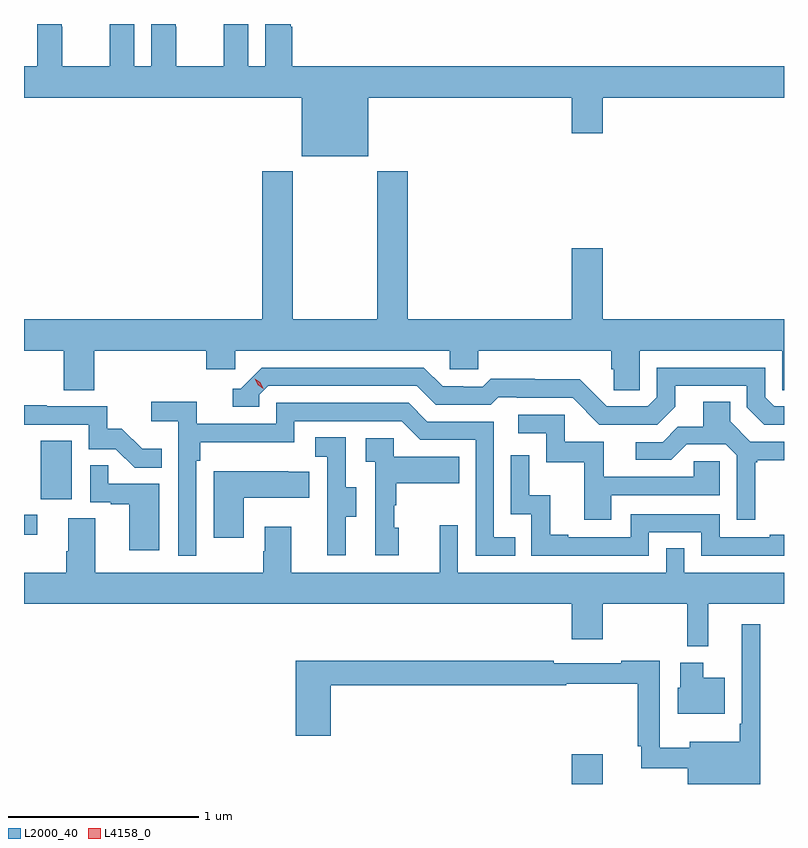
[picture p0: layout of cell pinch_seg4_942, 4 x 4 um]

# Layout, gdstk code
import gdstk
lib = gdstk.Library(unit=1e-6, precision=1e-09)
def R(c, l, rs):  # rectangles x0, y0, x1, y1
    for r in rs: c.add(gdstk.rectangle(r[:2], r[2:], *l))
def P(c, l, *ps):  # polygons
    for p in ps: c.add(gdstk.Polygon(p, *l))
L2000_40 = (2000, 40)
L4158_0 = (4158, 0)

pinch_seg4_942 = lib.new_cell('pinch_seg4_942')
R(pinch_seg4_942, L2000_40, [(860.312,767.899,860.476,768.055), (857.429,769.212,857.5,769.317), (857.516,769.398,857.68,769.705)])
P(pinch_seg4_942, L2000_40, [(859.24,771.512),(860.312,771.512),(860.312,771.324),(860.476,771.324),(860.476,771.512),(861.429,771.512),(861.429,771.676),(858.842,771.676),(858.842,771.884),(858.832,771.884),(858.832,771.899),(858.698,771.899),(858.698,771.676),(858.61,771.676),(858.61,771.899),(858.48,771.899),(858.48,771.884),(858.479,771.884),(858.479,771.676),(858.229,771.676),(858.229,771.884),(858.228,771.884),(858.228,771.899),(858.098,771.899),(858.098,771.676),(858.01,771.676),(858.01,771.899),(857.88,771.899),(857.88,771.884),(857.879,771.884),(857.879,771.676),(857.629,771.676),(857.629,771.884),(857.628,771.884),(857.628,771.899),(857.498,771.899),(857.498,771.676),(857.429,771.676),(857.429,771.512),(858.89,771.512),(858.89,771.203),(859.24,771.203)],
  [(857.798,770.18),(858.389,770.18),(858.389,770.082),(858.54,770.082),(858.54,770.18),(859.671,770.18),(859.671,770.082),(859.821,770.082),(859.821,770.18),(860.519,770.18),(860.519,770.082),(860.533,770.082),(860.533,769.972),(860.67,769.972),(860.67,770.18),(861.42,770.18),(861.42,769.972),(861.429,769.972),(861.429,770.344),(860.476,770.344),(860.476,770.719),(860.312,770.719),(860.312,770.344),(859.448,770.344),(859.448,771.124),(859.288,771.124),(859.288,770.344),(858.843,770.344),(858.843,771.124),(858.683,771.124),(858.683,770.344),(857.429,770.344),(857.429,770.18),(857.638,770.18),(857.638,769.972),(857.798,769.972)],
  [(860.857,769.885),(860.857,769.995),(861.234,769.995),(861.234,769.881),(861.324,769.791),(861.429,769.791),(861.429,769.887),(861.378,769.887),(861.33,769.935),(861.33,770.091),(860.76,770.091),(860.76,769.935),(860.712,769.887),(860.496,769.887),(860.354,770.029),(860.118,770.029),(860.118,770.032),(859.885,770.032),(859.843,769.989),(859.74,769.989),(859.74,769.992),(859.633,769.992),(859.534,770.091),(858.681,770.091),(858.57,769.98),(858.527,769.98),(858.527,769.884),(858.666,769.884),(858.666,769.947),(858.714,769.995),(859.497,769.995),(859.596,769.896),(859.885,769.896),(859.924,769.935),(860.023,769.935),(860.023,769.932),(860.316,769.932),(860.457,769.791),(860.763,769.791)],
  [(861.277,769.593),(861.289,769.593),(861.289,769.604),(861.429,769.604),(861.429,769.701),(861.252,769.701),(861.145,769.808),(861.145,769.91),(861.005,769.91),(861.005,769.778),(860.87,769.778),(860.79,769.698),(860.649,769.698),(860.649,769.605),(860.836,769.605),(860.917,769.686),(861.123,769.686),(861.18,769.629),(861.18,769.29),(861.277,769.29)],
  [(858.336,769.601),(858.356,769.601),(858.356,769.697),(858.852,769.697),(858.852,769.809),(859.416,769.809),(859.515,769.71),(859.806,769.71),(859.806,769.101),(860.015,769.101),(860.015,769.197),(859.902,769.197),(859.902,769.806),(859.552,769.806),(859.453,769.905),(858.756,769.905),(858.756,769.794),(858.338,769.794),(858.338,769.91),(858.099,769.91),(858.099,769.808),(858.24,769.808),(858.24,769.101),(858.336,769.101)],
  [(858.155,769.663),(858.051,769.663),(857.944,769.77),(857.868,769.77),(857.868,769.887),(857.549,769.887),(857.549,769.892),(857.429,769.892),(857.429,769.791),(857.769,769.791),(857.769,769.662),(857.913,769.662),(858.011,769.564),(858.155,769.564)],
  [(860.521,769.419),(861.09,769.419),(861.09,769.599),(860.953,769.599),(860.953,769.515),(860.479,769.515),(860.479,769.701),(860.274,769.701),(860.274,769.842),(860.031,769.842),(860.031,769.746),(860.178,769.746),(860.178,769.593),(860.377,769.593),(860.377,769.29),(860.521,769.29)],
  [(859.123,769.306),(859.177,769.306),(859.177,769.461),(859.122,769.461),(859.122,769.724),(858.963,769.724),(858.963,769.621),(859.026,769.621),(859.026,769.317),(859.025,769.317),(859.025,769.104),(859.123,769.104)],
  [(859.402,769.248),(859.377,769.248),(859.377,769.367),(859.387,769.367),(859.387,769.481),(859.721,769.481),(859.721,769.621),(859.374,769.621),(859.374,769.719),(859.227,769.719),(859.227,769.595),(859.278,769.595),(859.278,769.104),(859.402,769.104)],
  [(860.718,769.224),(860.994,769.224),(860.994,769.101),(861.429,769.101),(861.429,769.21),(861.353,769.21),(861.353,769.197),(861.09,769.197),(861.09,769.32),(860.622,769.32),(860.622,769.197),(860.293,769.197),(860.293,769.21),(860.198,769.21),(860.198,769.418),(860.088,769.418),(860.088,769.63),(859.992,769.63),(859.992,769.32),(860.1,769.32),(860.1,769.101),(860.718,769.101)],
  [(858.142,769.479),(857.873,769.479),(857.873,769.577),(857.778,769.577),(857.778,769.383),(857.885,769.383),(857.885,769.371),(857.984,769.371),(857.984,769.128),(858.142,769.128)],
  [(858.586,769.406),(858.929,769.406),(858.929,769.543),(858.821,769.543),(858.821,769.546),(858.428,769.546),(858.428,769.194),(858.586,769.194)],
  [(861.029,768.848),(861.429,768.848),(861.429,769.012),(860.904,769.012),(860.904,769.139),(860.808,769.139),(860.808,769.012),(859.713,769.012),(859.713,769.261),(859.616,769.261),(859.616,769.012),(858.835,769.012),(858.835,769.252),(858.695,769.252),(858.695,769.124),(858.688,769.124),(858.688,769.012),(857.803,769.012),(857.803,769.298),(857.663,769.298),(857.663,769.124),(857.651,769.124),(857.651,769.012),(857.429,769.012),(857.429,768.848),(860.312,768.848),(860.312,768.66),(860.476,768.66),(860.476,768.848),(860.919,768.848),(860.919,768.623),(861.029,768.623)],
  [(861.304,768.739),(861.207,768.739),(861.207,768.217),(861.195,768.217),(861.195,768.121),(860.933,768.121),(860.933,768.091),(860.775,768.091),(860.775,768.547),(860.572,768.547),(860.572,768.534),(860.216,768.534),(860.216,768.547),(858.86,768.547),(858.86,768.153),(859.043,768.153),(859.043,768.418),(860.282,768.418),(860.282,768.426),(860.659,768.426),(860.659,768.097),(860.678,768.097),(860.678,767.982),(860.922,767.982),(860.922,767.899),(861.304,767.899)],
  [(861.118,768.457),(861.004,768.457),(861.004,768.538),(860.882,768.538),(860.882,768.405),(860.87,768.405),(860.87,768.269),(861.118,768.269)])
P(pinch_seg4_942, L4158_0, [(858.688,769.98),(858.658,770),(858.643,770.032),(858.643,770.033),(858.643,770.033),(858.673,770.013),(858.688,769.98),(858.688,769.98)])

lib.write_gds('pinch_seg4_942.gds')
